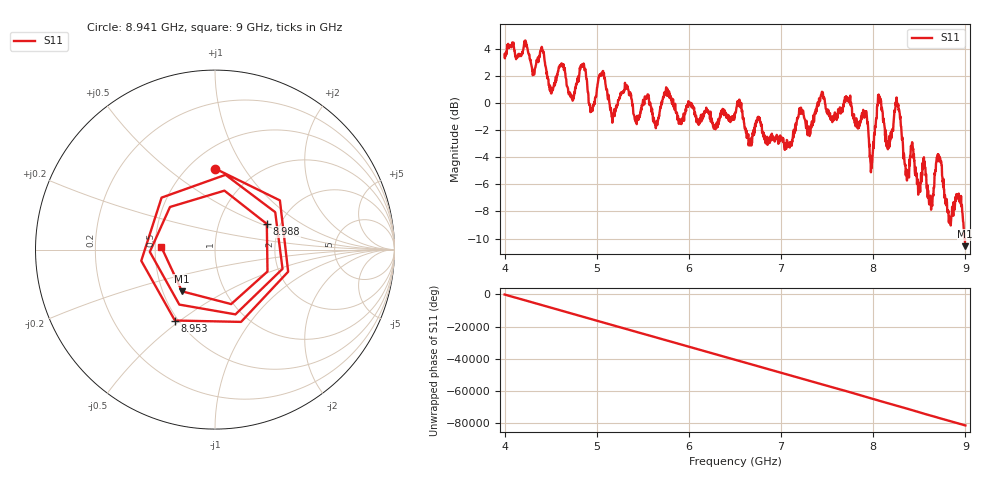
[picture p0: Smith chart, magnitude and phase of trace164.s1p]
! Created with skrf 1.8.0 (http://scikit-rf.org).
# Hz S RI R 50.0
!freq ReS11 ImS11
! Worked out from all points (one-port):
!   1601 points, 4 GHz to 9 GHz, reference 50 ohm
!   lowest |S11| = -10.6 dB at 8.997 GHz (marker M1), VSWR 1.84, Z = 31.3 - j16 ohm
!   |S11| at or under -10 dB: 8.994065 GHz to end of sweep
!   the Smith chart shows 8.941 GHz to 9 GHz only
!   S11 on the Smith chart (normalised r, x): 8.941 GHz: 0.66, +0.75; 8.953 GHz: 0.48, -0.48; 8.988 GHz: 1.70, +0.54; 9 GHz: 0.54, +0.02
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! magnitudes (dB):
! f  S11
! 4 GHz  3.6
! 4.406 GHz  4.1
! 4.506 GHz  0.7
! 4.625 GHz  2.8
! 4.731 GHz  0.3
! 4.856 GHz  2.7
! 4.938 GHz  -0.4
! 5.053 GHz  2.2
! 5.169 GHz  -1.5
! 5.25 GHz  0.3
! 5.875 GHz  -1.0
! 6.5 GHz  -0.7
! 7.125 GHz  -2.6
! 7.75 GHz  0.5
! 7.916 GHz  -0.7
! 7.981 GHz  -4.8
! 8.062 GHz  0.3
! 8.159 GHz  -3.4
! 8.262 GHz  0.0
! 8.375 GHz  -5.3
! 8.625 GHz  -7.1
! 8.712 GHz  -4.1
! 8.828 GHz  -8.7
! 8.941 GHz  -6.9
! 8.953 GHz  -6.9
! 8.988 GHz  -9.8
! 8.997 GHz  -10.6
! 9 GHz  -10.5
